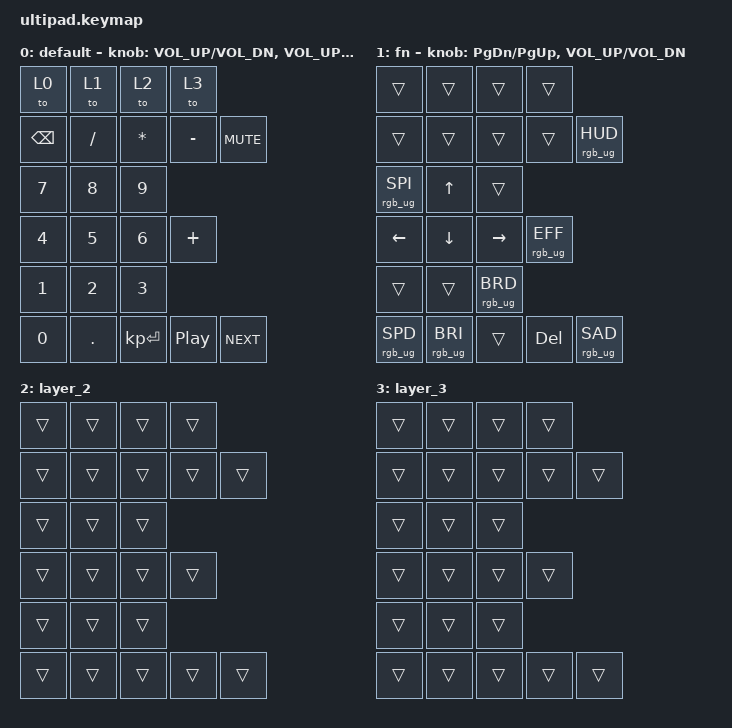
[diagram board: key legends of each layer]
/*
 * Copyright (c) 2021 The ZMK Contributors
 *
 * SPDX-License-Identifier: MIT
 */

#include <behaviors.dtsi>
#include <dt-bindings/zmk/bt.h>
#include <dt-bindings/zmk/keys.h>
#include <dt-bindings/zmk/rgb.h>

#define TIMEOUT 300

&middle_left_encoder { status = "okay"; };

&ttc_encoder { status = "okay"; };

/ {
    combos {
        compatible = "zmk,combos";

        combo_btclr {
            timeout-ms = <TIMEOUT>;
            key-positions = <0 4>;
            bindings = <&bt BT_CLR>;
        };

        combo_reset {
            timeout-ms = <TIMEOUT>;
            key-positions = <0 2>;
            bindings = <&sys_reset>;
        };

        combo_bootloader {
            timeout-ms = <TIMEOUT>;
            key-positions = <0 1>;
            bindings = <&bootloader>;
        };

        combo_bt_nxt {
            timeout-ms = <TIMEOUT>;
            key-positions = <0 3>;
            bindings = <&bt BT_NXT>;
        };
    };

    keymap: keymap {
        compatible = "zmk,keymap";

        default_layer {
            display-name = "default";
            bindings = <
&to 0          &to 1         &to 2         &to 3
&kp BACKSPACE  &kp SLASH     &kp ASTERISK  &kp MINUS     &kp K_MUTE
&kp NUMBER_7   &kp N8        &kp N9
&kp NUMBER_4   &kp N5        &kp NUMBER_6  &kp PLUS
&kp NUMBER_1   &kp NUMBER_2  &kp NUMBER_3
               &kp N0        &kp PERIOD    &kp KP_ENTER  &kp C_PLAY_PAUSE  &kp C_NEXT
            >;

            sensor-bindings = <&inc_dec_kp C_VOL_UP C_VOL_DN &inc_dec_kp C_VOL_UP C_VOL_DN>;
        };

        fn_layer {
            display-name = "fn";
            bindings = <
&trans           &trans           &trans           &trans
&trans           &trans           &trans           &trans           &rgb_ug RGB_HUD
&rgb_ug RGB_SPI  &kp UP_ARROW     &trans
&kp LEFT_ARROW   &kp DOWN_ARROW   &kp RIGHT_ARROW  &rgb_ug RGB_EFF
&trans           &trans           &rgb_ug RGB_BRD
                 &rgb_ug RGB_SPD  &rgb_ug RGB_BRI  &trans           &kp DEL          &rgb_ug RGB_SAD
            >;

            sensor-bindings = <&inc_dec_kp PG_DN PG_UP &inc_dec_kp C_VOL_UP C_VOL_DN>;
        };

        layer_2 {
            bindings = <
&trans  &trans  &trans  &trans
&trans  &trans  &trans  &trans  &trans
&trans  &trans  &trans
&trans  &trans  &trans  &trans
&trans  &trans  &trans
        &trans  &trans  &trans  &trans  &trans
            >;
        };

        layer_3 {
            bindings = <
&trans  &trans  &trans  &trans
&trans  &trans  &trans  &trans  &trans
&trans  &trans  &trans
&trans  &trans  &trans  &trans
&trans  &trans  &trans
        &trans  &trans  &trans  &trans  &trans
            >;
        };
    };
};
